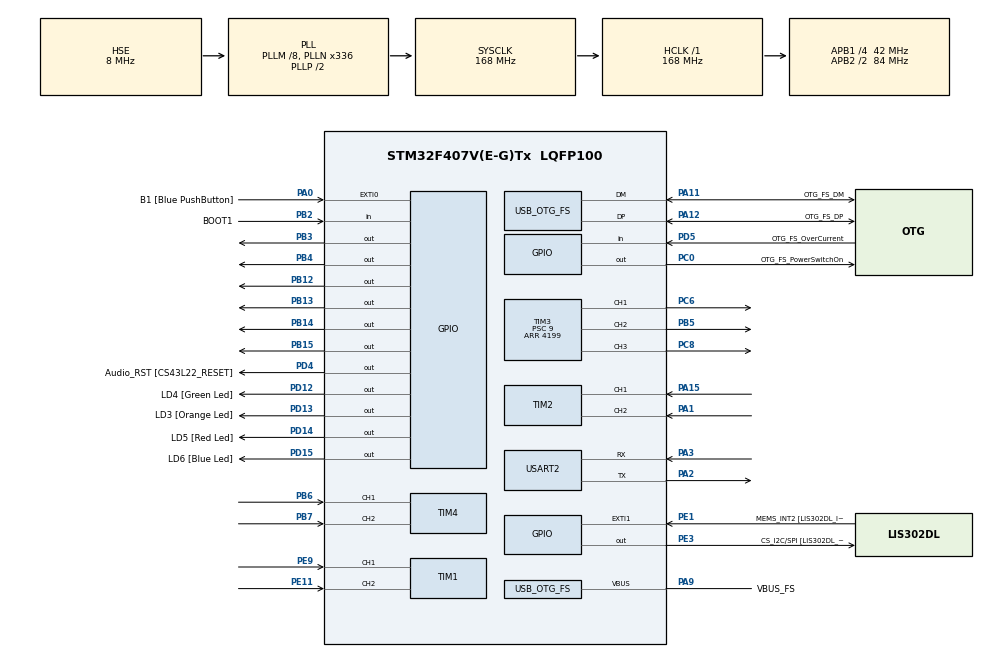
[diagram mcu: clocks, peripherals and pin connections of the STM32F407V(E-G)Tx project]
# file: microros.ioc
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Dma.Request0=USART2_RX
Dma.Request1=USART2_TX
Dma.USART2_RX.0.Direction=DMA_PERIPH_TO_MEMORY
Dma.USART2_RX.0.FIFOMode=DMA_FIFOMODE_DISABLE
Dma.USART2_RX.0.Instance=DMA1_Stream5
Dma.USART2_RX.0.MemDataAlignment=DMA_MDATAALIGN_BYTE
Dma.USART2_RX.0.MemInc=DMA_MINC_ENABLE
Dma.USART2_RX.0.Mode=DMA_CIRCULAR
Dma.USART2_RX.0.PeriphDataAlignment=DMA_PDATAALIGN_BYTE
Dma.USART2_RX.0.PeriphInc=DMA_PINC_DISABLE
Dma.USART2_RX.0.Priority=DMA_PRIORITY_VERY_HIGH
Dma.USART2_TX.1.Direction=DMA_MEMORY_TO_PERIPH
Dma.USART2_TX.1.FIFOMode=DMA_FIFOMODE_DISABLE
Dma.USART2_TX.1.Instance=DMA1_Stream6
Dma.USART2_TX.1.MemDataAlignment=DMA_MDATAALIGN_BYTE
Dma.USART2_TX.1.MemInc=DMA_MINC_ENABLE
Dma.USART2_TX.1.Mode=DMA_NORMAL
Dma.USART2_TX.1.PeriphDataAlignment=DMA_PDATAALIGN_BYTE
Dma.USART2_TX.1.PeriphInc=DMA_PINC_DISABLE
Dma.USART2_TX.1.Priority=DMA_PRIORITY_VERY_HIGH
FREERTOS.Tasks01=defaultTask,24,3000,StartDefaultTask,Default,NULL,Dynamic,NULL,NULL
Mcu.Family=STM32F4
Mcu.Name=STM32F407V(E-G)Tx
Mcu.Package=LQFP100
NVIC.DMA1_Stream5_IRQn=true\:5\:0\:false\:false\:true\:true\:false\:true\:true
NVIC.DMA1_Stream6_IRQn=true\:5\:0\:false\:false\:true\:true\:false\:true\:true
NVIC.OTG_FS_IRQn=true\:5\:0\:false\:false\:true\:true\:true\:true\:true
NVIC.PriorityGroup=NVIC_PRIORITYGROUP_4
NVIC.USART2_IRQn=true\:5\:0\:false\:false\:true\:true\:true\:true\:true
PA0-WKUP.GPIO_Label=B1 [Blue PushButton]
PA0-WKUP.GPIO_ModeDefaultEXTI=GPIO_MODE_EVT_RISING
PA0-WKUP.GPIO_PuPd=GPIO_NOPULL
PA0-WKUP.Signal=GPXTI0
PA1.Signal=S_TIM2_CH2
PA11.GPIO_Label=OTG_FS_DM
PA11.GPIO_Mode=GPIO_MODE_AF_PP
PA11.GPIO_PuPd=GPIO_NOPULL
PA11.GPIO_Speed=GPIO_SPEED_FREQ_LOW
PA11.Mode=Host_Only
PA11.Signal=USB_OTG_FS_DM
PA12.GPIO_Label=OTG_FS_DP
PA12.GPIO_Mode=GPIO_MODE_AF_PP
PA12.GPIO_PuPd=GPIO_NOPULL
PA12.GPIO_Speed=GPIO_SPEED_FREQ_LOW
PA12.Mode=Host_Only
PA12.Signal=USB_OTG_FS_DP
PA13.GPIO_Label=SWDIO
PA13.Mode=Serial_Wire
PA13.Signal=SYS_JTMS-SWDIO
PA14.GPIO_Label=SWCLK
PA14.Mode=Serial_Wire
PA14.Signal=SYS_JTCK-SWCLK
PA15.Signal=S_TIM2_CH1_ETR
PA2.Mode=Asynchronous
PA2.Signal=USART2_TX
PA3.Mode=Asynchronous
PA3.Signal=USART2_RX
PA9.GPIO_Label=VBUS_FS
PA9.GPIO_Mode=GPIO_MODE_INPUT
PA9.GPIO_PuPd=GPIO_NOPULL
PA9.Mode=Activate_VBUS
PA9.Signal=USB_OTG_FS_VBUS
PB12.Signal=GPIO_Output
PB13.Signal=GPIO_Output
PB14.Signal=GPIO_Output
PB15.Signal=GPIO_Output
PB2.GPIO_Label=BOOT1
PB2.GPIO_Mode=GPIO_MODE_INPUT
PB2.GPIO_PuPd=GPIO_NOPULL
PB2.Signal=GPIO_Input
PB3.Signal=GPIO_Output
PB4.Signal=GPIO_Output
PB5.Signal=S_TIM3_CH2
PB6.Signal=S_TIM4_CH1
PB7.Signal=S_TIM4_CH2
PC0.GPIO_Label=OTG_FS_PowerSwitchOn
PC0.GPIO_PuPd=GPIO_NOPULL
PC0.GPIO_Speed=GPIO_SPEED_FREQ_LOW
PC0.PinState=GPIO_PIN_SET
PC0.Signal=GPIO_Output
PC14-OSC32_IN.GPIO_Label=PC14-OSC32_IN
PC14-OSC32_IN.Mode=LSE-External-Oscillator
PC14-OSC32_IN.Signal=RCC_OSC32_IN
PC15-OSC32_OUT.GPIO_Label=PC15-OSC32_OUT
PC15-OSC32_OUT.Mode=LSE-External-Oscillator
PC15-OSC32_OUT.Signal=RCC_OSC32_OUT
PC6.Signal=S_TIM3_CH1
PC8.Signal=S_TIM3_CH3
PD12.GPIO_Label=LD4 [Green Led]
PD12.GPIO_PuPd=GPIO_NOPULL
PD12.GPIO_Speed=GPIO_SPEED_FREQ_LOW
PD12.Signal=GPIO_Output
PD13.GPIO_Label=LD3 [Orange Led]
PD13.GPIO_PuPd=GPIO_NOPULL
PD13.GPIO_Speed=GPIO_SPEED_FREQ_LOW
PD13.Signal=GPIO_Output
PD14.GPIO_Label=LD5 [Red Led]
PD14.GPIO_PuPd=GPIO_NOPULL
PD14.GPIO_Speed=GPIO_SPEED_FREQ_LOW
PD14.Signal=GPIO_Output
PD15.GPIO_Label=LD6 [Blue Led]
PD15.GPIO_PuPd=GPIO_NOPULL
PD15.GPIO_Speed=GPIO_SPEED_FREQ_LOW
PD15.Signal=GPIO_Output
PD4.GPIO_Label=Audio_RST [CS43L22_RESET]
PD4.GPIO_PuPd=GPIO_NOPULL
PD4.GPIO_Speed=GPIO_SPEED_FREQ_LOW
PD4.Signal=GPIO_Output
PD5.GPIO_Label=OTG_FS_OverCurrent
PD5.GPIO_Mode=GPIO_MODE_INPUT
PD5.GPIO_PuPd=GPIO_NOPULL
PD5.Signal=GPIO_Input
PE1.GPIO_Label=MEMS_INT2 [LIS302DL_INT2]
PE1.GPIO_ModeDefaultEXTI=GPIO_MODE_EVT_RISING
PE1.GPIO_PuPd=GPIO_NOPULL
PE1.Signal=GPXTI1
PE11.Signal=S_TIM1_CH2
PE3.GPIO_Label=CS_I2C/SPI [LIS302DL_CS_I2C/SPI]
PE3.GPIO_PuPd=GPIO_NOPULL
PE3.GPIO_Speed=GPIO_SPEED_FREQ_LOW
PE3.Signal=GPIO_Output
PE9.Signal=S_TIM1_CH1
PH0-OSC_IN.GPIO_Label=PH0-OSC_IN
PH0-OSC_IN.Mode=HSE-External-Oscillator
PH0-OSC_IN.Signal=RCC_OSC_IN
PH1-OSC_OUT.GPIO_Label=PH1-OSC_OUT
PH1-OSC_OUT.Mode=HSE-External-Oscillator
PH1-OSC_OUT.Signal=RCC_OSC_OUT
ProjectManager.HeapSize=0x200
ProjectManager.StackSize=0x400
ProjectManager.TargetToolchain=STM32CubeIDE
RCC.48MHZClocksFreq_Value=48000000
RCC.AHBFreq_Value=168000000
RCC.APB1CLKDivider=RCC_HCLK_DIV4
RCC.APB1Freq_Value=42000000
RCC.APB1TimFreq_Value=84000000
RCC.APB2CLKDivider=RCC_HCLK_DIV2
RCC.APB2Freq_Value=84000000
RCC.APB2TimFreq_Value=168000000
RCC.CortexFreq_Value=168000000
RCC.HCLKFreq_Value=168000000
RCC.HSE_VALUE=8000000
RCC.HSI_VALUE=16000000
RCC.PLLM=8
RCC.PLLN=336
RCC.PLLQ=7
RCC.SYSCLKFreq_VALUE=168000000
RCC.SYSCLKSource=RCC_SYSCLKSOURCE_PLLCLK
RCC.VCOOutputFreq_Value=336000000
SH.S_TIM1_CH1.0=TIM1_CH1,Encoder_Interface
SH.S_TIM1_CH2.0=TIM1_CH2,Encoder_Interface
SH.S_TIM2_CH1_ETR.0=TIM2_CH1,Encoder_Interface
SH.S_TIM2_CH2.0=TIM2_CH2,Encoder_Interface
SH.S_TIM3_CH1.0=TIM3_CH1,PWM Generation1 CH1
SH.S_TIM3_CH2.0=TIM3_CH2,PWM Generation2 CH2
SH.S_TIM3_CH3.0=TIM3_CH3,PWM Generation3 CH3
SH.S_TIM4_CH1.0=TIM4_CH1,Encoder_Interface
SH.S_TIM4_CH2.0=TIM4_CH2,Encoder_Interface
TIM1.EncoderMode=TIM_ENCODERMODE_TI12
TIM2.EncoderMode=TIM_ENCODERMODE_TI12
TIM3.Channel-PWM\ Generation1\ CH1=TIM_CHANNEL_1
TIM3.Channel-PWM\ Generation2\ CH2=TIM_CHANNEL_2
TIM3.Channel-PWM\ Generation3\ CH3=TIM_CHANNEL_3
TIM3.Period=4199
TIM3.Prescaler=9
TIM4.EncoderMode=TIM_ENCODERMODE_TI12
USART2.VirtualMode=VM_ASYNC
USB_HOST.BSP.number=1
USB_HOST.USBH_HandleTypeDef-CDC_FS=hUsbHostFS
USB_HOST.VirtualModeFS=Cdc
USB_HOST0.BSP.STBoard=false
USB_HOST0.BSP.api=Unknown
USB_HOST0.BSP.instance=PC0
USB_HOST0.BSP.ip=GPIO
USB_HOST0.BSP.mode=Output
USB_HOST0.BSP.name=Drive_VBUS_FS
USB_HOST0.BSP.solution=PC0
USB_OTG_FS.VirtualMode=Host_Only
USB_OTG_FS.phy_itface=HCD_PHY_EMBEDDED
VP_FREERTOS_VS_CMSIS_V2.Mode=CMSIS_V2
VP_USB_HOST_VS_USB_HOST_CDC_FS.Mode=CDC_FS
board=STM32F407G-DISC1

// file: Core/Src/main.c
/* USER CODE BEGIN Header */
/**
  ******************************************************************************
  * @file           : main.c
  * @brief          : Main program body
  ******************************************************************************
  * @attention
  *
  * Copyright (c) 2025 STMicroelectronics.
  * All rights reserved.
  *
  * This software is licensed under terms that can be found in the LICENSE file
  * in the root directory of this software component.
  * If no LICENSE file comes with this software, it is provided AS-IS.
  *
  ******************************************************************************
  */
/* USER CODE END Header */
#include "main.h"
#include "cmsis_os.h"
#include "usb_host.h"

/* USER CODE BEGIN Includes */
#include <rcl/rcl.h>
#include <rcl/error_handling.h>
#include <rclc/rclc.h>
#include <rclc/executor.h>
#include <uxr/client/transport.h>
#include <rmw_microxrcedds_c/config.h>
#include <rmw_microros/rmw_microros.h>
#include <std_msgs/msg/float32.h>
#include <std_msgs/msg/int32.h>
#include <geometry_msgs/msg/twist.h>
#include "pid.h"
#include "motor.h"
/* USER CODE END Includes */

TIM_HandleTypeDef htim1;
TIM_HandleTypeDef htim2;
TIM_HandleTypeDef htim3;
TIM_HandleTypeDef htim4;

UART_HandleTypeDef huart2;
DMA_HandleTypeDef hdma_usart2_rx;
DMA_HandleTypeDef hdma_usart2_tx;

/* Definitions for defaultTask */
osThreadId_t defaultTaskHandle;
const osThreadAttr_t defaultTask_attributes = {
  .name = "defaultTask",
  .stack_size = 3000 * 4,
  .priority = (osPriority_t) osPriorityNormal,
};
/* USER CODE BEGIN PV */
float setpoint = 0.0f;
/* USER CODE END PV */

void SystemClock_Config(void);
static void MX_GPIO_Init(void);
static void MX_DMA_Init(void);
static void MX_USART2_UART_Init(void);
static void MX_TIM2_Init(void);
static void MX_TIM3_Init(void);
static void MX_TIM1_Init(void);
static void MX_TIM4_Init(void);
void StartDefaultTask(void *argument);

/* USER CODE BEGIN 0 */
Motor_t motor1;
Motor_t motor2;
MOTOR_t motor3;
PID_CONTROL_t pid_vel1;
PID_CONTROL_t pid_vel2;
PID_CONTROL_t pid_pos;
float target_speed = 0.0f;
float target_angle = 0.0f;
/* USER CODE END 0 */

int main(void)
{

  /* MCU Configuration--------------------------------------------------------*/

  /* Reset of all peripherals, Initializes the Flash interface and the Systick. */
  HAL_Init();

  /* Configure the system clock */
  SystemClock_Config();

  /* Initialize all configured peripherals */
  MX_GPIO_Init();
  MX_DMA_Init();
  MX_USART2_UART_Init();
  MX_TIM2_Init();
  MX_TIM3_Init();
  MX_TIM1_Init();
  MX_TIM4_Init();

  /* Init scheduler */
  osKernelInitialize();

  /* Create the thread(s) */
  /* creation of defaultTask */
  defaultTaskHandle = osThreadNew(StartDefaultTask, NULL, &defaultTask_attributes);

  /* Start scheduler */
  osKernelStart();

  /* We should never get here as control is now taken by the scheduler */

  /* Infinite loop */
  while (1)
  {

  }
}

void SystemClock_Config(void)
{
  RCC_OscInitTypeDef RCC_OscInitStruct = {0};
  RCC_ClkInitTypeDef RCC_ClkInitStruct = {0};

  /** Configure the main internal regulator output voltage
  */
  __HAL_RCC_PWR_CLK_ENABLE();
  __HAL_PWR_VOLTAGESCALING_CONFIG(PWR_REGULATOR_VOLTAGE_SCALE1);

  /** Initializes the RCC Oscillators according to the specified parameters
  * in the RCC_OscInitTypeDef structure.
  */
  RCC_OscInitStruct.OscillatorType = RCC_OSCILLATORTYPE_HSE;
  RCC_OscInitStruct.HSEState = RCC_HSE_ON;
  RCC_OscInitStruct.PLL.PLLState = RCC_PLL_ON;
  RCC_OscInitStruct.PLL.PLLSource = RCC_PLLSOURCE_HSE;
  RCC_OscInitStruct.PLL.PLLM = 8;
  RCC_OscInitStruct.PLL.PLLN = 336;
  RCC_OscInitStruct.PLL.PLLP = RCC_PLLP_DIV2;
  RCC_OscInitStruct.PLL.PLLQ = 7;
  if (HAL_RCC_OscConfig(&RCC_OscInitStruct) != HAL_OK)
  {
    Error_Handler();
  }

  /** Initializes the CPU, AHB and APB buses clocks
  */
  RCC_ClkInitStruct.ClockType = RCC_CLOCKTYPE_HCLK|RCC_CLOCKTYPE_SYSCLK
                              |RCC_CLOCKTYPE_PCLK1|RCC_CLOCKTYPE_PCLK2;
  RCC_ClkInitStruct.SYSCLKSource = RCC_SYSCLKSOURCE_PLLCLK;
  RCC_ClkInitStruct.AHBCLKDivider = RCC_SYSCLK_DIV1;
  RCC_ClkInitStruct.APB1CLKDivider = RCC_HCLK_DIV4;
  RCC_ClkInitStruct.APB2CLKDivider = RCC_HCLK_DIV2;

  if (HAL_RCC_ClockConfig(&RCC_ClkInitStruct, FLASH_LATENCY_5) != HAL_OK)
  {
    Error_Handler();
  }
}

static void MX_TIM1_Init(void)
{

  TIM_Encoder_InitTypeDef sConfig = {0};
  TIM_MasterConfigTypeDef sMasterConfig = {0};

  htim1.Instance = TIM1;
  htim1.Init.Prescaler = 0;
  htim1.Init.CounterMode = TIM_COUNTERMODE_UP;
  htim1.Init.Period = 65535;
  htim1.Init.ClockDivision = TIM_CLOCKDIVISION_DIV1;
  htim1.Init.RepetitionCounter = 0;
  htim1.Init.AutoReloadPreload = TIM_AUTORELOAD_PRELOAD_DISABLE;
  sConfig.EncoderMode = TIM_ENCODERMODE_TI12;
  sConfig.IC1Polarity = TIM_ICPOLARITY_RISING;
  sConfig.IC1Selection = TIM_ICSELECTION_DIRECTTI;
  sConfig.IC1Prescaler = TIM_ICPSC_DIV1;
  sConfig.IC1Filter = 0;
  sConfig.IC2Polarity = TIM_ICPOLARITY_RISING;
  sConfig.IC2Selection = TIM_ICSELECTION_DIRECTTI;
  sConfig.IC2Prescaler = TIM_ICPSC_DIV1;
  sConfig.IC2Filter = 0;
  if (HAL_TIM_Encoder_Init(&htim1, &sConfig) != HAL_OK)
  {
    Error_Handler();
  }
  sMasterConfig.MasterOutputTrigger = TIM_TRGO_RESET;
  sMasterConfig.MasterSlaveMode = TIM_MASTERSLAVEMODE_DISABLE;
  if (HAL_TIMEx_MasterConfigSynchronization(&htim1, &sMasterConfig) != HAL_OK)
  {
    Error_Handler();
  }

}

static void MX_TIM2_Init(void)
{

  TIM_Encoder_InitTypeDef sConfig = {0};
  TIM_MasterConfigTypeDef sMasterConfig = {0};

  htim2.Instance = TIM2;
  htim2.Init.Prescaler = 0;
  htim2.Init.CounterMode = TIM_COUNTERMODE_UP;
  htim2.Init.Period = 4294967295;
  htim2.Init.ClockDivision = TIM_CLOCKDIVISION_DIV1;
  htim2.Init.AutoReloadPreload = TIM_AUTORELOAD_PRELOAD_DISABLE;
  sConfig.EncoderMode = TIM_ENCODERMODE_TI12;
  sConfig.IC1Polarity = TIM_ICPOLARITY_RISING;
  sConfig.IC1Selection = TIM_ICSELECTION_DIRECTTI;
  sConfig.IC1Prescaler = TIM_ICPSC_DIV1;
  sConfig.IC1Filter = 0;
  sConfig.IC2Polarity = TIM_ICPOLARITY_RISING;
  sConfig.IC2Selection = TIM_ICSELECTION_DIRECTTI;
  sConfig.IC2Prescaler = TIM_ICPSC_DIV1;
  sConfig.IC2Filter = 0;
  if (HAL_TIM_Encoder_Init(&htim2, &sConfig) != HAL_OK)
  {
    Error_Handler();
  }
  sMasterConfig.MasterOutputTrigger = TIM_TRGO_RESET;
  sMasterConfig.MasterSlaveMode = TIM_MASTERSLAVEMODE_DISABLE;
  if (HAL_TIMEx_MasterConfigSynchronization(&htim2, &sMasterConfig) != HAL_OK)
  {
    Error_Handler();
  }

}

static void MX_TIM3_Init(void)
{

  TIM_MasterConfigTypeDef sMasterConfig = {0};
  TIM_OC_InitTypeDef sConfigOC = {0};

  htim3.Instance = TIM3;
  htim3.Init.Prescaler = 9;
  htim3.Init.CounterMode = TIM_COUNTERMODE_UP;
  htim3.Init.Period = 4199;
  htim3.Init.ClockDivision = TIM_CLOCKDIVISION_DIV1;
  htim3.Init.AutoReloadPreload = TIM_AUTORELOAD_PRELOAD_DISABLE;
  if (HAL_TIM_PWM_Init(&htim3) != HAL_OK)
  {
    Error_Handler();
  }
  sMasterConfig.MasterOutputTrigger = TIM_TRGO_RESET;
  sMasterConfig.MasterSlaveMode = TIM_MASTERSLAVEMODE_DISABLE;
  if (HAL_TIMEx_MasterConfigSynchronization(&htim3, &sMasterConfig) != HAL_OK)
  {
    Error_Handler();
  }
  sConfigOC.OCMode = TIM_OCMODE_PWM1;
  sConfigOC.Pulse = 0;
  sConfigOC.OCPolarity = TIM_OCPOLARITY_HIGH;
  sConfigOC.OCFastMode = TIM_OCFAST_DISABLE;
  if (HAL_TIM_PWM_ConfigChannel(&htim3, &sConfigOC, TIM_CHANNEL_1) != HAL_OK)
  {
    Error_Handler();
  }
  if (HAL_TIM_PWM_ConfigChannel(&htim3, &sConfigOC, TIM_CHANNEL_2) != HAL_OK)
  {
    Error_Handler();
  }
  if (HAL_TIM_PWM_ConfigChannel(&htim3, &sConfigOC, TIM_CHANNEL_3) != HAL_OK)
  {
    Error_Handler();
  }
  HAL_TIM_MspPostInit(&htim3);

}

static void MX_TIM4_Init(void)
{

  TIM_Encoder_InitTypeDef sConfig = {0};
  TIM_MasterConfigTypeDef sMasterConfig = {0};

  htim4.Instance = TIM4;
  htim4.Init.Prescaler = 0;
  htim4.Init.CounterMode = TIM_COUNTERMODE_UP;
  htim4.Init.Period = 65535;
  htim4.Init.ClockDivision = TIM_CLOCKDIVISION_DIV1;
  htim4.Init.AutoReloadPreload = TIM_AUTORELOAD_PRELOAD_DISABLE;
  sConfig.EncoderMode = TIM_ENCODERMODE_TI12;
  sConfig.IC1Polarity = TIM_ICPOLARITY_RISING;
  sConfig.IC1Selection = TIM_ICSELECTION_DIRECTTI;
  sConfig.IC1Prescaler = TIM_ICPSC_DIV1;
  sConfig.IC1Filter = 0;
  sConfig.IC2Polarity = TIM_ICPOLARITY_RISING;
  sConfig.IC2Selection = TIM_ICSELECTION_DIRECTTI;
  sConfig.IC2Prescaler = TIM_ICPSC_DIV1;
  sConfig.IC2Filter = 0;
  if (HAL_TIM_Encoder_Init(&htim4, &sConfig) != HAL_OK)
  {
    Error_Handler();
  }
  sMasterConfig.MasterOutputTrigger = TIM_TRGO_RESET;
  sMasterConfig.MasterSlaveMode = TIM_MASTERSLAVEMODE_DISABLE;
  if (HAL_TIMEx_MasterConfigSynchronization(&htim4, &sMasterConfig) != HAL_OK)
  {
    Error_Handler();
  }

}

static void MX_USART2_UART_Init(void)
{

  huart2.Instance = USART2;
  huart2.Init.BaudRate = 115200;
  huart2.Init.WordLength = UART_WORDLENGTH_8B;
  huart2.Init.StopBits = UART_STOPBITS_1;
  huart2.Init.Parity = UART_PARITY_NONE;
  huart2.Init.Mode = UART_MODE_TX_RX;
  huart2.Init.HwFlowCtl = UART_HWCONTROL_NONE;
  huart2.Init.OverSampling = UART_OVERSAMPLING_16;
  if (HAL_UART_Init(&huart2) != HAL_OK)
  {
    Error_Handler();
  }

}

static void MX_DMA_Init(void)
{

  /* DMA controller clock enable */
  __HAL_RCC_DMA1_CLK_ENABLE();

  /* DMA interrupt init */
  /* DMA1_Stream5_IRQn interrupt configuration */
  HAL_NVIC_SetPriority(DMA1_Stream5_IRQn, 5, 0);
  HAL_NVIC_EnableIRQ(DMA1_Stream5_IRQn);
  /* DMA1_Stream6_IRQn interrupt configuration */
  HAL_NVIC_SetPriority(DMA1_Stream6_IRQn, 5, 0);
  HAL_NVIC_EnableIRQ(DMA1_Stream6_IRQn);

}

static void MX_GPIO_Init(void)
{
  GPIO_InitTypeDef GPIO_InitStruct = {0};

  /* GPIO Ports Clock Enable */
  __HAL_RCC_GPIOE_CLK_ENABLE();
  __HAL_RCC_GPIOC_CLK_ENABLE();
  __HAL_RCC_GPIOH_CLK_ENABLE();
  __HAL_RCC_GPIOA_CLK_ENABLE();
  __HAL_RCC_GPIOB_CLK_ENABLE();
  __HAL_RCC_GPIOD_CLK_ENABLE();

  /*Configure GPIO pin Output Level */
  HAL_GPIO_WritePin(CS_I2C_SPI_GPIO_Port, CS_I2C_SPI_Pin, GPIO_PIN_RESET);

  /*Configure GPIO pin Output Level */
  HAL_GPIO_WritePin(OTG_FS_PowerSwitchOn_GPIO_Port, OTG_FS_PowerSwitchOn_Pin, GPIO_PIN_SET);

  /*Configure GPIO pin Output Level */
  HAL_GPIO_WritePin(GPIOB, GPIO_PIN_12|GPIO_PIN_13|GPIO_PIN_14|GPIO_PIN_15
                          |GPIO_PIN_3|GPIO_PIN_4, GPIO_PIN_RESET);

  /*Configure GPIO pin Output Level */
  HAL_GPIO_WritePin(GPIOD, LD4_Pin|LD3_Pin|LD5_Pin|LD6_Pin
                          |Audio_RST_Pin, GPIO_PIN_RESET);

  /*Configure GPIO pin : CS_I2C_SPI_Pin */
  GPIO_InitStruct.Pin = CS_I2C_SPI_Pin;
  GPIO_InitStruct.Mode = GPIO_MODE_OUTPUT_PP;
  GPIO_InitStruct.Pull = GPIO_NOPULL;
  GPIO_InitStruct.Speed = GPIO_SPEED_FREQ_LOW;
  HAL_GPIO_Init(CS_I2C_SPI_GPIO_Port, &GPIO_InitStruct);

  /*Configure GPIO pin : OTG_FS_PowerSwitchOn_Pin */
  GPIO_InitStruct.Pin = OTG_FS_PowerSwitchOn_Pin;
  GPIO_InitStruct.Mode = GPIO_MODE_OUTPUT_PP;
  GPIO_InitStruct.Pull = GPIO_NOPULL;
  GPIO_InitStruct.Speed = GPIO_SPEED_FREQ_LOW;
  HAL_GPIO_Init(OTG_FS_PowerSwitchOn_GPIO_Port, &GPIO_InitStruct);

  /*Configure GPIO pin : B1_Pin */
  GPIO_InitStruct.Pin = B1_Pin;
  GPIO_InitStruct.Mode = GPIO_MODE_EVT_RISING;
  GPIO_InitStruct.Pull = GPIO_NOPULL;
  HAL_GPIO_Init(B1_GPIO_Port, &GPIO_InitStruct);

  /*Configure GPIO pin : BOOT1_Pin */
  GPIO_InitStruct.Pin = BOOT1_Pin;
  GPIO_InitStruct.Mode = GPIO_MODE_INPUT;
  GPIO_InitStruct.Pull = GPIO_NOPULL;
  HAL_GPIO_Init(BOOT1_GPIO_Port, &GPIO_InitStruct);

  /*Configure GPIO pins : PB12 PB13 PB14 PB15
                           PB3 PB4 */
  GPIO_InitStruct.Pin = GPIO_PIN_12|GPIO_PIN_13|GPIO_PIN_14|GPIO_PIN_15
                          |GPIO_PIN_3|GPIO_PIN_4;
  GPIO_InitStruct.Mode = GPIO_MODE_OUTPUT_PP;
  GPIO_InitStruct.Pull = GPIO_NOPULL;
  GPIO_InitStruct.Speed = GPIO_SPEED_FREQ_LOW;
  HAL_GPIO_Init(GPIOB, &GPIO_InitStruct);

  /*Configure GPIO pins : LD4_Pin LD3_Pin LD5_Pin LD6_Pin
                           Audio_RST_Pin */
  GPIO_InitStruct.Pin = LD4_Pin|LD3_Pin|LD5_Pin|LD6_Pin
                          |Audio_RST_Pin;
  GPIO_InitStruct.Mode = GPIO_MODE_OUTPUT_PP;
  GPIO_InitStruct.Pull = GPIO_NOPULL;
  GPIO_InitStruct.Speed = GPIO_SPEED_FREQ_LOW;
  HAL_GPIO_Init(GPIOD, &GPIO_InitStruct);

  /*Configure GPIO pin : OTG_FS_OverCurrent_Pin */
  GPIO_InitStruct.Pin = OTG_FS_OverCurrent_Pin;
  GPIO_InitStruct.Mode = GPIO_MODE_INPUT;
  GPIO_InitStruct.Pull = GPIO_NOPULL;
  HAL_GPIO_Init(OTG_FS_OverCurrent_GPIO_Port, &GPIO_InitStruct);

  /*Configure GPIO pin : MEMS_INT2_Pin */
  GPIO_InitStruct.Pin = MEMS_INT2_Pin;
  GPIO_InitStruct.Mode = GPIO_MODE_EVT_RISING;
  GPIO_InitStruct.Pull = GPIO_NOPULL;
  HAL_GPIO_Init(MEMS_INT2_GPIO_Port, &GPIO_InitStruct);

}

/* USER CODE BEGIN 4 */
bool cubemx_transport_open(struct uxrCustomTransport * transport);
bool cubemx_transport_close(struct uxrCustomTransport * transport);
size_t cubemx_transport_write(struct uxrCustomTransport* transport, const uint8_t * buf, size_t len, uint8_t * err);
size_t cubemx_transport_read(struct uxrCustomTransport* transport, uint8_t* buf, size_t len, int timeout, uint8_t* err);

void * microros_allocate(size_t size, void * state);
void microros_deallocate(void * pointer, void * state);
void * microros_reallocate(void * pointer, size_t size, void * state);
void * microros_zero_allocate(size_t number_of_elements, size_t size_of_element, void * state);
void cmd_vel_callback(const void *msgin)
{
    const geometry_msgs__msg__Twist * msg = (const geometry_msgs__msg__Twist *)msgin;

    // lấy vận tốc tuyến tính (m/s) hoặc vòng/s — tùy bạn định nghĩa
    target_speed = msg->linear.x;
    target_angle = msg->angular.z;

    // Debug: bật LED khi nhận được dữ liệu
    HAL_GPIO_TogglePin(GPIOD, GPIO_PIN_14);
}
/* USER CODE END 4 */

void StartDefaultTask(void *argument)
{
  /* init code for USB_HOST */
  MX_USB_HOST_Init();
  /* USER CODE BEGIN 5 */
  // micro-ROS configuration

  rmw_uros_set_custom_transport(
    true,
    (void *) &huart2,
    cubemx_transport_open,
    cubemx_transport_close,
    cubemx_transport_write,
    cubemx_transport_read);

  rcl_allocator_t freeRTOS_allocator = rcutils_get_zero_initialized_allocator();
  freeRTOS_allocator.allocate = microros_allocate;
  freeRTOS_allocator.deallocate = microros_deallocate;
  freeRTOS_allocator.reallocate = microros_reallocate;
  freeRTOS_allocator.zero_allocate =  microros_zero_allocate;

  if (!rcutils_set_default_allocator(&freeRTOS_allocator)) {
      printf("Error on default allocators (line %d)\n", __LINE__);
  }

  // micro-ROS app

  rcl_publisher_t publisher;
  std_msgs__msg__Int32 msg;
  rclc_support_t support;
  rcl_allocator_t allocator;
  rcl_node_t node;
  rcl_publisher_t feedback_pub;
  rcl_subscription_t cmd_sub;
  rclc_executor_t executor;
  geometry_msgs__msg__Twist cmd_vel_msg;
  std_msgs__msg__Float32 feedback_msg1;
  std_msgs__msg__Float32 feedback_msg2;
  allocator = rcl_get_default_allocator();

  //create init_options
  rclc_support_init(&support, 0, NULL, &allocator);

  // create node
  rclc_node_init_default(&node, "cubemx_node", "", &support);

  // create publisher
  rclc_publisher_init_default(
    &publisher,
    &node,
    ROSIDL_GET_MSG_TYPE_SUPPORT(std_msgs, msg, Int32),
    "cubemx_publisher");

    rclc_publisher_init_default(
        &feedback_pub,
        &node,
        ROSIDL_GET_MSG_TYPE_SUPPORT(std_msgs, msg, Float32),
        "motor_feedback");
    rclc_subscription_init_default(
        &cmd_sub,
        &node,
        ROSIDL_GET_MSG_TYPE_SUPPORT(geometry_msgs, msg, Twist),
        "cmd_vel");
    rclc_executor_init(&executor, &support.context, 2, &allocator);
    rclc_executor_add_subscription(&executor, &cmd_sub, &cmd_vel_msg, &cmd_vel_callback, ON_NEW_DATA);

    MotorReset(&motor1);
    MotorReset(&motor2);
    MotorAngleInit(&motor3);
    PIDInit(&pid_vel1, 1.0f, 0.0f, 0.0f);
    PIDInit(&pid_vel2, 300.0f, 00.0f, 00.0f);
    PIDInit(&pid_pos, 1.0f, 0.0f, 0.0f);
    HAL_TIM_Encoder_Start(&htim2, TIM_CHANNEL_ALL);
    HAL_TIM_Encoder_Start(&htim1, TIM_CHANNEL_ALL);
    HAL_TIM_Encoder_Start(&htim4, TIM_CHANNEL_ALL);
    HAL_TIM_PWM_Start(&htim3, TIM_CHANNEL_1);
    HAL_TIM_PWM_Start(&htim3, TIM_CHANNEL_2);
    HAL_TIM_PWM_Start(&htim3, TIM_CHANNEL_3);
    osDelay(50);

  msg.data = 0;

  for(;;)
  {
	  // 1) service ROS events (non-blocking short time)
	      rclc_executor_spin_some(&executor, RCL_MS_TO_NS(10));

	      // 2) read encoder (update motor1.velocity)
	      ReadEncoder(&motor1, &htim2);
	      ReadEncoder(&motor2, &htim1);
	      ReadEncoder_angular(&motor3, &htim4);

	      // 3) PID velocity: use target_speed (updated in callback)
	      float duty1 = MotorPIDVelocity(&pid_vel1, &motor1, target_speed);
	      float duty2 = MotorPIDVelocity(&pid_vel2, &motor2, target_speed);
	      float g_duty3 = MotorPIDPosition(&pid_pos, &motor3, target_angle);
	     MotorSetDuty1((int)duty1);
	     MotorSetDuty2((int)duty2);
	     MotorSetDuty3((int)g_duty3);

	      // 4) apply duty
	     // MotorSetDuty(2000);

	      // 5) publish feedback velocity
	     // feedback_msg.data = motor1.velocity;
	      feedback_msg1.data = motor1.velocity;
	      feedback_msg2.data = motor2.velocity;

	      rcl_ret_t ret1 = rcl_publish(&feedback_pub, &feedback_msg1, NULL);
	      if (ret1 != RCL_RET_OK) {
	          printf("Error publishing feedback (line %d)\n", __LINE__);
	      }
	      rcl_ret_t ret2 = rcl_publish(&feedback_pub, &feedback_msg2, NULL);
	      if (ret2 != RCL_RET_OK) {
	      	          printf("Error publishing feedback (line %d)\n", __LINE__);
	      	      }
	      // 6) optional toggle to observe loop
	      HAL_GPIO_TogglePin(GPIOD, GPIO_PIN_15);

	         msg.data++;
	      //osDelay(10); // keep 10 ms control loop
  }
  /* USER CODE END 5 */
}

void Error_Handler(void)
{
  __disable_irq();
  while (1)
  {
  }
}
